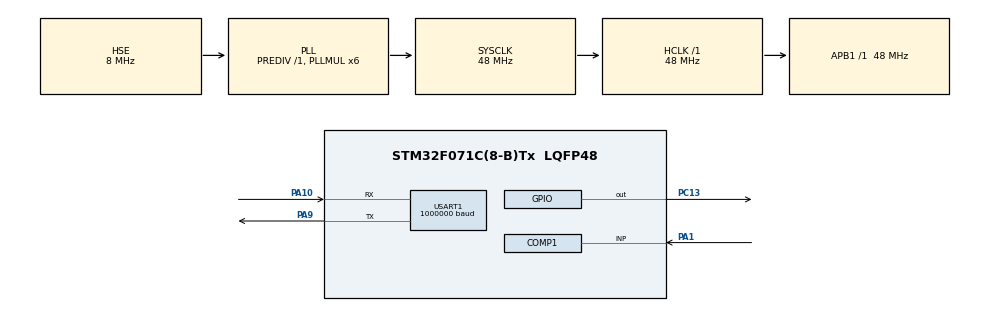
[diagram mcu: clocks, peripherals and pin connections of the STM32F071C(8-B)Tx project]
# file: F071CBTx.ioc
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Mcu.Family=STM32F0
RCC.PLLSourceVirtual=RCC_PLLSOURCE_HSE
PA10.Mode=Asynchronous
USART1.BaudRate=1000000
PC13.Signal=GPIO_Output
COMP1.Hysteresis=COMP_HYSTERESIS_HIGH
VP_COMP1_VS_VREFINT34.Mode=VREFINT_34
RCC.SYSCLKSource=RCC_SYSCLKSOURCE_PLLCLK
ProjectManager.StackSize=0x400
USART1.VirtualMode-Asynchronous=VM_ASYNC
PA9.Mode=Asynchronous
ProjectManager.TargetToolchain=MDK-ARM V5
RCC.HCLKFreq_Value=48000000
PA9.Signal=USART1_TX
COMP1.Mode=COMP_MODE_LOWPOWER
PA1.Signal=COMP1_INP
RCC.AHBFreq_Value=48000000
PF0-OSC_IN.Mode=HSE-External-Oscillator
board=custom
RCC.PLLMUL=RCC_PLL_MUL6
COMP1.InvertingInput=COMP_INVERTINGINPUT_3_4VREFINT
PA1.Mode=INP
VP_TIM2_VS_ClockSourceINT.Mode=Internal
TIM2.Period=0xffffffff-1
Mcu.Name=STM32F071C(8-B)Tx
RCC.SYSCLKFreq_VALUE=48000000
Mcu.Package=LQFP48
TIM2.Prescaler=48-1
PA10.Signal=USART1_RX
ProjectManager.HeapSize=0x200
RCC.APB1TimFreq_Value=48000000
TIM2.AutoReloadPreload=TIM_AUTORELOAD_PRELOAD_DISABLE
PF0-OSC_IN.Signal=RCC_OSC_IN
PF1-OSC_OUT.Mode=HSE-External-Oscillator
RCC.APB1Freq_Value=48000000
NVIC.ADC1_COMP_IRQn=true\:0\:0\:false\:false\:true\:false\:true
PF1-OSC_OUT.Signal=RCC_OSC_OUT
COMP1.TriggerMode=COMP_TRIGGERMODE_IT_RISING

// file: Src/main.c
/* USER CODE BEGIN Header */
/**
  ******************************************************************************
  * @file           : main.c
  * @brief          : Main program body
  ******************************************************************************
  * @attention
  *
  * <h2><center>&copy; Copyright (c) 2020 STMicroelectronics.
  * All rights reserved.</center></h2>
  *
  * This software component is licensed by ST under BSD 3-Clause license,
  * the "License"; You may not use this file except in compliance with the
  * License. You may obtain a copy of the License at:
  *                        opensource.org/licenses/BSD-3-Clause
  *
  ******************************************************************************
  */
/* USER CODE END Header */

#include "main.h"

/* USER CODE BEGIN Includes */
#include "stdio.h"
/* USER CODE END Includes */

COMP_HandleTypeDef hcomp1;

TIM_HandleTypeDef htim2;

UART_HandleTypeDef huart1;

void SystemClock_Config(void);
static void MX_GPIO_Init(void);
static void MX_COMP1_Init(void);
static void MX_USART1_UART_Init(void);
static void MX_TIM2_Init(void);

/* USER CODE BEGIN 0 */
int fputc(int ch,FILE *f)
{
    uint8_t temp[1]={ch};
    HAL_UART_Transmit(&huart1,temp,1,2);
		return 0;
}

int32_t t = 0;
void HAL_COMP_TriggerCallback(COMP_HandleTypeDef *hcomp)
{
	t = TIM2->CNT;
	TIM2->CNT = 0;
	printf("Line1=%d;\r\n",t);
	HAL_GPIO_TogglePin(GPIOC, GPIO_PIN_13);
}
/* USER CODE END 0 */

int main(void)
{

  /* MCU Configuration--------------------------------------------------------*/

  /* Reset of all peripherals, Initializes the Flash interface and the Systick. */
  HAL_Init();

  /* Configure the system clock */
  SystemClock_Config();

  /* Initialize all configured peripherals */
  MX_GPIO_Init();
  MX_COMP1_Init();
  MX_USART1_UART_Init();
  MX_TIM2_Init();
  /* USER CODE BEGIN 2 */
	HAL_TIM_Base_Start(&htim2);
	HAL_COMP_Start_IT(&hcomp1);
	HAL_COMP_Start(&hcomp1);
  /* USER CODE END 2 */

  /* Infinite loop */
  /* USER CODE BEGIN WHILE */
  while (1)
  {
//		t = TIM2->CNT;
//		dt = t-last_t;
//		last_t = t;
//		printf("Line1=%d;Line2=%d;\r\n",dt,dt+1);
		HAL_Delay(100);
    /* USER CODE END WHILE */

  }
}

void SystemClock_Config(void)
{
  RCC_OscInitTypeDef RCC_OscInitStruct = {0};
  RCC_ClkInitTypeDef RCC_ClkInitStruct = {0};
  RCC_PeriphCLKInitTypeDef PeriphClkInit = {0};

  /** Initializes the CPU, AHB and APB busses clocks
  */
  RCC_OscInitStruct.OscillatorType = RCC_OSCILLATORTYPE_HSE;
  RCC_OscInitStruct.HSEState = RCC_HSE_ON;
  RCC_OscInitStruct.PLL.PLLState = RCC_PLL_ON;
  RCC_OscInitStruct.PLL.PLLSource = RCC_PLLSOURCE_HSE;
  RCC_OscInitStruct.PLL.PLLMUL = RCC_PLL_MUL6;
  RCC_OscInitStruct.PLL.PREDIV = RCC_PREDIV_DIV1;
  if (HAL_RCC_OscConfig(&RCC_OscInitStruct) != HAL_OK)
  {
    Error_Handler();
  }
  /** Initializes the CPU, AHB and APB busses clocks
  */
  RCC_ClkInitStruct.ClockType = RCC_CLOCKTYPE_HCLK|RCC_CLOCKTYPE_SYSCLK
                              |RCC_CLOCKTYPE_PCLK1;
  RCC_ClkInitStruct.SYSCLKSource = RCC_SYSCLKSOURCE_PLLCLK;
  RCC_ClkInitStruct.AHBCLKDivider = RCC_SYSCLK_DIV1;
  RCC_ClkInitStruct.APB1CLKDivider = RCC_HCLK_DIV1;

  if (HAL_RCC_ClockConfig(&RCC_ClkInitStruct, FLASH_LATENCY_1) != HAL_OK)
  {
    Error_Handler();
  }
  PeriphClkInit.PeriphClockSelection = RCC_PERIPHCLK_USART1;
  PeriphClkInit.Usart1ClockSelection = RCC_USART1CLKSOURCE_PCLK1;
  if (HAL_RCCEx_PeriphCLKConfig(&PeriphClkInit) != HAL_OK)
  {
    Error_Handler();
  }
}

static void MX_COMP1_Init(void)
{

  hcomp1.Instance = COMP1;
  hcomp1.Init.InvertingInput = COMP_INVERTINGINPUT_3_4VREFINT;
  hcomp1.Init.NonInvertingInput = COMP_NONINVERTINGINPUT_IO1;
  hcomp1.Init.Output = COMP_OUTPUT_NONE;
  hcomp1.Init.OutputPol = COMP_OUTPUTPOL_NONINVERTED;
  hcomp1.Init.Hysteresis = COMP_HYSTERESIS_HIGH;
  hcomp1.Init.Mode = COMP_MODE_LOWPOWER;
  hcomp1.Init.WindowMode = COMP_WINDOWMODE_DISABLE;
  hcomp1.Init.TriggerMode = COMP_TRIGGERMODE_IT_RISING;
  if (HAL_COMP_Init(&hcomp1) != HAL_OK)
  {
    Error_Handler();
  }

}

static void MX_TIM2_Init(void)
{

  TIM_ClockConfigTypeDef sClockSourceConfig = {0};
  TIM_MasterConfigTypeDef sMasterConfig = {0};

  htim2.Instance = TIM2;
  htim2.Init.Prescaler = 48-1;
  htim2.Init.CounterMode = TIM_COUNTERMODE_UP;
  htim2.Init.Period = 0xffffffff-1;
  htim2.Init.ClockDivision = TIM_CLOCKDIVISION_DIV1;
  htim2.Init.AutoReloadPreload = TIM_AUTORELOAD_PRELOAD_DISABLE;
  if (HAL_TIM_Base_Init(&htim2) != HAL_OK)
  {
    Error_Handler();
  }
  sClockSourceConfig.ClockSource = TIM_CLOCKSOURCE_INTERNAL;
  if (HAL_TIM_ConfigClockSource(&htim2, &sClockSourceConfig) != HAL_OK)
  {
    Error_Handler();
  }
  sMasterConfig.MasterOutputTrigger = TIM_TRGO_RESET;
  sMasterConfig.MasterSlaveMode = TIM_MASTERSLAVEMODE_DISABLE;
  if (HAL_TIMEx_MasterConfigSynchronization(&htim2, &sMasterConfig) != HAL_OK)
  {
    Error_Handler();
  }

}

static void MX_USART1_UART_Init(void)
{

  huart1.Instance = USART1;
  huart1.Init.BaudRate = 1000000;
  huart1.Init.WordLength = UART_WORDLENGTH_8B;
  huart1.Init.StopBits = UART_STOPBITS_1;
  huart1.Init.Parity = UART_PARITY_NONE;
  huart1.Init.Mode = UART_MODE_TX_RX;
  huart1.Init.HwFlowCtl = UART_HWCONTROL_NONE;
  huart1.Init.OverSampling = UART_OVERSAMPLING_16;
  huart1.Init.OneBitSampling = UART_ONE_BIT_SAMPLE_DISABLE;
  huart1.AdvancedInit.AdvFeatureInit = UART_ADVFEATURE_NO_INIT;
  if (HAL_UART_Init(&huart1) != HAL_OK)
  {
    Error_Handler();
  }

}

static void MX_GPIO_Init(void)
{
  GPIO_InitTypeDef GPIO_InitStruct = {0};

  /* GPIO Ports Clock Enable */
  __HAL_RCC_GPIOC_CLK_ENABLE();
  __HAL_RCC_GPIOF_CLK_ENABLE();
  __HAL_RCC_GPIOA_CLK_ENABLE();

  /*Configure GPIO pin Output Level */
  HAL_GPIO_WritePin(GPIOC, GPIO_PIN_13, GPIO_PIN_RESET);

  /*Configure GPIO pin : PC13 */
  GPIO_InitStruct.Pin = GPIO_PIN_13;
  GPIO_InitStruct.Mode = GPIO_MODE_OUTPUT_PP;
  GPIO_InitStruct.Pull = GPIO_NOPULL;
  GPIO_InitStruct.Speed = GPIO_SPEED_FREQ_LOW;
  HAL_GPIO_Init(GPIOC, &GPIO_InitStruct);

}

void Error_Handler(void)
{
}

/************************ (C) COPYRIGHT STMicroelectronics *****END OF FILE****/
